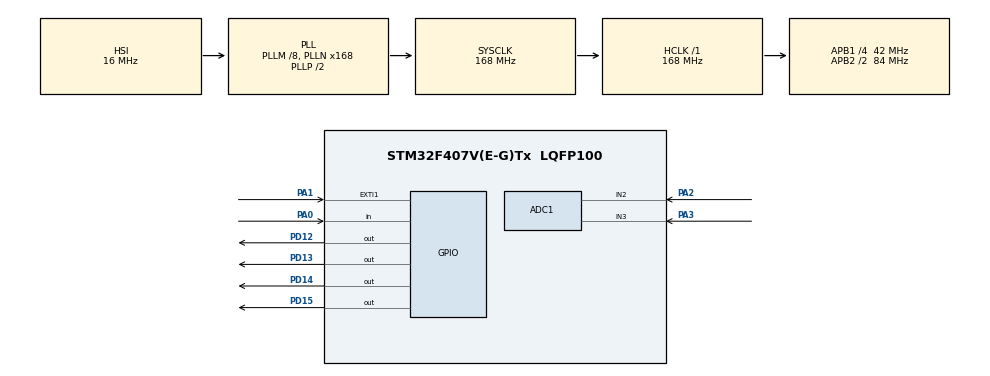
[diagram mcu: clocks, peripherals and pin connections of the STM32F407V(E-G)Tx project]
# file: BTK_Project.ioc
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ADC1.Channel-0\#ChannelRegularConversion=ADC_CHANNEL_2
ADC1.Channel-1\#ChannelRegularConversion=ADC_CHANNEL_3
ADC1.Channel-2\#ChannelRegularConversion=ADC_CHANNEL_TEMPSENSOR
ADC1.Channel-3\#ChannelRegularConversion=ADC_CHANNEL_VREFINT
ADC1.Channel-4\#ChannelRegularConversion=ADC_CHANNEL_VBAT
ADC1.ContinuousConvMode=ENABLE
ADC1.DMAContinuousRequests=ENABLE
ADC1.EOCSelection=ADC_EOC_SEQ_CONV
ADC1.NbrOfConversion=5
ADC1.NbrOfConversionFlag=1
ADC1.Rank-0\#ChannelRegularConversion=1
ADC1.Rank-1\#ChannelRegularConversion=2
ADC1.Rank-2\#ChannelRegularConversion=3
ADC1.Rank-3\#ChannelRegularConversion=4
ADC1.Rank-4\#ChannelRegularConversion=5
ADC1.SamplingTime-0\#ChannelRegularConversion=ADC_SAMPLETIME_56CYCLES
ADC1.SamplingTime-1\#ChannelRegularConversion=ADC_SAMPLETIME_56CYCLES
ADC1.SamplingTime-2\#ChannelRegularConversion=ADC_SAMPLETIME_480CYCLES
ADC1.SamplingTime-3\#ChannelRegularConversion=ADC_SAMPLETIME_480CYCLES
ADC1.SamplingTime-4\#ChannelRegularConversion=ADC_SAMPLETIME_480CYCLES
ADC1.ScanConvMode=ENABLE
ADC1.master=1
Dma.ADC1.0.Direction=DMA_PERIPH_TO_MEMORY
Dma.ADC1.0.FIFOMode=DMA_FIFOMODE_DISABLE
Dma.ADC1.0.Instance=DMA2_Stream0
Dma.ADC1.0.MemDataAlignment=DMA_MDATAALIGN_HALFWORD
Dma.ADC1.0.MemInc=DMA_MINC_ENABLE
Dma.ADC1.0.Mode=DMA_CIRCULAR
Dma.ADC1.0.PeriphDataAlignment=DMA_PDATAALIGN_HALFWORD
Dma.ADC1.0.PeriphInc=DMA_PINC_DISABLE
Dma.ADC1.0.Priority=DMA_PRIORITY_LOW
Dma.Request0=ADC1
Mcu.Family=STM32F4
Mcu.Name=STM32F407V(E-G)Tx
Mcu.Package=LQFP100
NVIC.DMA2_Stream0_IRQn=true\:0\:0\:false\:false\:true\:false\:true\:true
NVIC.EXTI1_IRQn=true\:0\:0\:false\:false\:true\:true\:true\:true
NVIC.PriorityGroup=NVIC_PRIORITYGROUP_4
PA0-WKUP.Signal=GPIO_Input
PA1.Signal=GPXTI1
PA13.Mode=Serial_Wire
PA13.Signal=SYS_JTMS-SWDIO
PA14.Mode=Serial_Wire
PA14.Signal=SYS_JTCK-SWCLK
PA2.Signal=ADCx_IN2
PA3.Signal=ADCx_IN3
PD12.Signal=GPIO_Output
PD13.Signal=GPIO_Output
PD14.Signal=GPIO_Output
PD15.Signal=GPIO_Output
PH0-OSC_IN.Mode=HSE-External-Oscillator
PH0-OSC_IN.Signal=RCC_OSC_IN
PH1-OSC_OUT.Mode=HSE-External-Oscillator
PH1-OSC_OUT.Signal=RCC_OSC_OUT
ProjectManager.HeapSize=0x200
ProjectManager.StackSize=0x400
ProjectManager.TargetToolchain=STM32CubeIDE
RCC.48MHZClocksFreq_Value=84000000
RCC.AHBFreq_Value=168000000
RCC.APB1CLKDivider=RCC_HCLK_DIV4
RCC.APB1Freq_Value=42000000
RCC.APB1TimFreq_Value=84000000
RCC.APB2CLKDivider=RCC_HCLK_DIV2
RCC.APB2Freq_Value=84000000
RCC.APB2TimFreq_Value=168000000
RCC.CortexFreq_Value=168000000
RCC.HCLKFreq_Value=168000000
RCC.HSE_VALUE=8000000
RCC.HSI_VALUE=16000000
RCC.LSE_VALUE=32768
RCC.PLLM=8
RCC.PLLN=168
RCC.SYSCLKFreq_VALUE=168000000
RCC.SYSCLKSource=RCC_SYSCLKSOURCE_PLLCLK
RCC.VCOOutputFreq_Value=336000000
SH.ADCx_IN2.0=ADC1_IN2,IN2
SH.ADCx_IN3.0=ADC1_IN3,IN3
VP_ADC1_TempSens_Input.Mode=IN-TempSens
VP_ADC1_Vbat_Input.Mode=IN-Vbat
VP_ADC1_Vref_Input.Mode=IN-Vrefint
board=custom

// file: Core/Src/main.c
/* USER CODE BEGIN Header */
/**
  ******************************************************************************
  * @file           : main.c
  * @brief          : Main program body
  ******************************************************************************
  * @attention
  *
  * Copyright (c) 2026 STMicroelectronics.
  * All rights reserved.
  *
  * This software is licensed under terms that can be found in the LICENSE file
  * in the root directory of this software component.
  * If no LICENSE file comes with this software, it is provided AS-IS.
  *
  ******************************************************************************
  */
/* USER CODE END Header */
#include "main.h"

/* USER CODE BEGIN Includes */
#include "io_driver.h"

#include  "adc_drive.h"
/* USER CODE END Includes */

ADC_HandleTypeDef hadc1;
DMA_HandleTypeDef hdma_adc1;

/* USER CODE BEGIN PV */
IO_Info_t ioInfo;

ADC_Info_t adcInfo;
/* USER CODE END PV */

void SystemClock_Config(void);
static void MX_GPIO_Init(void);
static void MX_DMA_Init(void);
static void MX_ADC1_Init(void);

int main(void)
{

  /* MCU Configuration--------------------------------------------------------*/

  /* Reset of all peripherals, Initializes the Flash interface and the Systick. */
  HAL_Init();

  /* Configure the system clock */
  SystemClock_Config();

  /* Initialize all configured peripherals */
  MX_GPIO_Init();
  MX_DMA_Init();
  MX_ADC1_Init();
  /* USER CODE BEGIN 2 */
 IO_Initalization(&ioInfo);

 ADC_Initialization(&adcInfo, &hadc1);

 if(adcInfo.adcError == ADC_Init_Start_Error)
 {
	 ioInfo.outputInfo.ledGreen.pinState	=	GPIO_PIN_SET;
 }
 else
 {
	 ioInfo.outputInfo.ledRed.pinState		=	GPIO_PIN_SET;
 }
  /* USER CODE END 2 */

  /* Infinite loop */
  while (1)
  {

    /* USER CODE BEGIN 3 */
	  IO_Status_Control(&ioInfo);

	  ADC_DMA_Conversion(&adcInfo);

	  if(adcInfo.pot1Percentage >= 0 && adcInfo.pot1Percentage < 25)
	  {
		  ioInfo.outputInfo.ledGreen.pinState	=	GPIO_PIN_SET;
		  ioInfo.outputInfo.ledOrange.pinState	=	GPIO_PIN_RESET;
		  ioInfo.outputInfo.ledRed.pinState		=	GPIO_PIN_RESET;
		  ioInfo.outputInfo.ledBlue.pinState	=	GPIO_PIN_RESET;
	  }

	  else if(adcInfo.pot1Percentage >= 25 && adcInfo.pot1Percentage < 50)
	  {
		  ioInfo.outputInfo.ledGreen.pinState	=	GPIO_PIN_SET;
		  ioInfo.outputInfo.ledOrange.pinState	=	GPIO_PIN_SET;
		  ioInfo.outputInfo.ledRed.pinState		=	GPIO_PIN_RESET;
		  ioInfo.outputInfo.ledBlue.pinState	=	GPIO_PIN_RESET;
	  }

	  else if(adcInfo.pot1Percentage >= 50 && adcInfo.pot1Percentage < 75)
	  {
		  ioInfo.outputInfo.ledGreen.pinState	=	GPIO_PIN_SET;
		  ioInfo.outputInfo.ledOrange.pinState	=	GPIO_PIN_SET;
		  ioInfo.outputInfo.ledRed.pinState		=	GPIO_PIN_SET;
		  ioInfo.outputInfo.ledBlue.pinState	=	GPIO_PIN_RESET;
	  }

	  else
	  {
		  ioInfo.outputInfo.ledGreen.pinState	=	GPIO_PIN_SET;
		  ioInfo.outputInfo.ledOrange.pinState	=	GPIO_PIN_SET;
		  ioInfo.outputInfo.ledRed.pinState		=	GPIO_PIN_SET;
		  ioInfo.outputInfo.ledBlue.pinState	=	GPIO_PIN_SET;
	  }
  }
  /* USER CODE END 3 */
}

void SystemClock_Config(void)
{
  RCC_OscInitTypeDef RCC_OscInitStruct = {0};
  RCC_ClkInitTypeDef RCC_ClkInitStruct = {0};

  /** Configure the main internal regulator output voltage
  */
  __HAL_RCC_PWR_CLK_ENABLE();
  __HAL_PWR_VOLTAGESCALING_CONFIG(PWR_REGULATOR_VOLTAGE_SCALE1);

  /** Initializes the RCC Oscillators according to the specified parameters
  * in the RCC_OscInitTypeDef structure.
  */
  RCC_OscInitStruct.OscillatorType = RCC_OSCILLATORTYPE_HSI;
  RCC_OscInitStruct.HSIState = RCC_HSI_ON;
  RCC_OscInitStruct.HSICalibrationValue = RCC_HSICALIBRATION_DEFAULT;
  RCC_OscInitStruct.PLL.PLLState = RCC_PLL_ON;
  RCC_OscInitStruct.PLL.PLLSource = RCC_PLLSOURCE_HSI;
  RCC_OscInitStruct.PLL.PLLM = 8;
  RCC_OscInitStruct.PLL.PLLN = 168;
  RCC_OscInitStruct.PLL.PLLP = RCC_PLLP_DIV2;
  RCC_OscInitStruct.PLL.PLLQ = 4;
  if (HAL_RCC_OscConfig(&RCC_OscInitStruct) != HAL_OK)
  {
    Error_Handler();
  }

  /** Initializes the CPU, AHB and APB buses clocks
  */
  RCC_ClkInitStruct.ClockType = RCC_CLOCKTYPE_HCLK|RCC_CLOCKTYPE_SYSCLK
                              |RCC_CLOCKTYPE_PCLK1|RCC_CLOCKTYPE_PCLK2;
  RCC_ClkInitStruct.SYSCLKSource = RCC_SYSCLKSOURCE_PLLCLK;
  RCC_ClkInitStruct.AHBCLKDivider = RCC_SYSCLK_DIV1;
  RCC_ClkInitStruct.APB1CLKDivider = RCC_HCLK_DIV4;
  RCC_ClkInitStruct.APB2CLKDivider = RCC_HCLK_DIV2;

  if (HAL_RCC_ClockConfig(&RCC_ClkInitStruct, FLASH_LATENCY_5) != HAL_OK)
  {
    Error_Handler();
  }
}

static void MX_ADC1_Init(void)
{

  ADC_ChannelConfTypeDef sConfig = {0};

  /** Configure the global features of the ADC (Clock, Resolution, Data Alignment and number of conversion)
  */
  hadc1.Instance = ADC1;
  hadc1.Init.ClockPrescaler = ADC_CLOCK_SYNC_PCLK_DIV4;
  hadc1.Init.Resolution = ADC_RESOLUTION_12B;
  hadc1.Init.ScanConvMode = ENABLE;
  hadc1.Init.ContinuousConvMode = ENABLE;
  hadc1.Init.DiscontinuousConvMode = DISABLE;
  hadc1.Init.ExternalTrigConvEdge = ADC_EXTERNALTRIGCONVEDGE_NONE;
  hadc1.Init.ExternalTrigConv = ADC_SOFTWARE_START;
  hadc1.Init.DataAlign = ADC_DATAALIGN_RIGHT;
  hadc1.Init.NbrOfConversion = 5;
  hadc1.Init.DMAContinuousRequests = ENABLE;
  hadc1.Init.EOCSelection = ADC_EOC_SEQ_CONV;
  if (HAL_ADC_Init(&hadc1) != HAL_OK)
  {
    Error_Handler();
  }

  /** Configure for the selected ADC regular channel its corresponding rank in the sequencer and its sample time.
  */
  sConfig.Channel = ADC_CHANNEL_2;
  sConfig.Rank = 1;
  sConfig.SamplingTime = ADC_SAMPLETIME_56CYCLES;
  if (HAL_ADC_ConfigChannel(&hadc1, &sConfig) != HAL_OK)
  {
    Error_Handler();
  }

  /** Configure for the selected ADC regular channel its corresponding rank in the sequencer and its sample time.
  */
  sConfig.Channel = ADC_CHANNEL_3;
  sConfig.Rank = 2;
  if (HAL_ADC_ConfigChannel(&hadc1, &sConfig) != HAL_OK)
  {
    Error_Handler();
  }

  /** Configure for the selected ADC regular channel its corresponding rank in the sequencer and its sample time.
  */
  sConfig.Channel = ADC_CHANNEL_TEMPSENSOR;
  sConfig.Rank = 3;
  sConfig.SamplingTime = ADC_SAMPLETIME_480CYCLES;
  if (HAL_ADC_ConfigChannel(&hadc1, &sConfig) != HAL_OK)
  {
    Error_Handler();
  }

  /** Configure for the selected ADC regular channel its corresponding rank in the sequencer and its sample time.
  */
  sConfig.Channel = ADC_CHANNEL_VREFINT;
  sConfig.Rank = 4;
  if (HAL_ADC_ConfigChannel(&hadc1, &sConfig) != HAL_OK)
  {
    Error_Handler();
  }

  /** Configure for the selected ADC regular channel its corresponding rank in the sequencer and its sample time.
  */
  sConfig.Channel = ADC_CHANNEL_VBAT;
  sConfig.Rank = 5;
  if (HAL_ADC_ConfigChannel(&hadc1, &sConfig) != HAL_OK)
  {
    Error_Handler();
  }

}

static void MX_DMA_Init(void)
{

  /* DMA controller clock enable */
  __HAL_RCC_DMA2_CLK_ENABLE();

  /* DMA interrupt init */
  /* DMA2_Stream0_IRQn interrupt configuration */
  HAL_NVIC_SetPriority(DMA2_Stream0_IRQn, 0, 0);
  HAL_NVIC_EnableIRQ(DMA2_Stream0_IRQn);

}

static void MX_GPIO_Init(void)
{
  GPIO_InitTypeDef GPIO_InitStruct = {0};

  /* GPIO Ports Clock Enable */
  __HAL_RCC_GPIOH_CLK_ENABLE();
  __HAL_RCC_GPIOA_CLK_ENABLE();
  __HAL_RCC_GPIOD_CLK_ENABLE();

  /*Configure GPIO pin Output Level */
  HAL_GPIO_WritePin(GPIOD, GPIO_PIN_12|GPIO_PIN_13|GPIO_PIN_14|GPIO_PIN_15, GPIO_PIN_RESET);

  /*Configure GPIO pin : PA0 */
  GPIO_InitStruct.Pin = GPIO_PIN_0;
  GPIO_InitStruct.Mode = GPIO_MODE_INPUT;
  GPIO_InitStruct.Pull = GPIO_NOPULL;
  HAL_GPIO_Init(GPIOA, &GPIO_InitStruct);

  /*Configure GPIO pin : PA1 */
  GPIO_InitStruct.Pin = GPIO_PIN_1;
  GPIO_InitStruct.Mode = GPIO_MODE_IT_RISING;
  GPIO_InitStruct.Pull = GPIO_NOPULL;
  HAL_GPIO_Init(GPIOA, &GPIO_InitStruct);

  /*Configure GPIO pins : PD12 PD13 PD14 PD15 */
  GPIO_InitStruct.Pin = GPIO_PIN_12|GPIO_PIN_13|GPIO_PIN_14|GPIO_PIN_15;
  GPIO_InitStruct.Mode = GPIO_MODE_OUTPUT_PP;
  GPIO_InitStruct.Pull = GPIO_NOPULL;
  GPIO_InitStruct.Speed = GPIO_SPEED_FREQ_LOW;
  HAL_GPIO_Init(GPIOD, &GPIO_InitStruct);

  /* EXTI interrupt init*/
  HAL_NVIC_SetPriority(EXTI1_IRQn, 0, 0);
  HAL_NVIC_EnableIRQ(EXTI1_IRQn);

}

void Error_Handler(void)
{
  __disable_irq();
  while (1)
  {
  }
}
